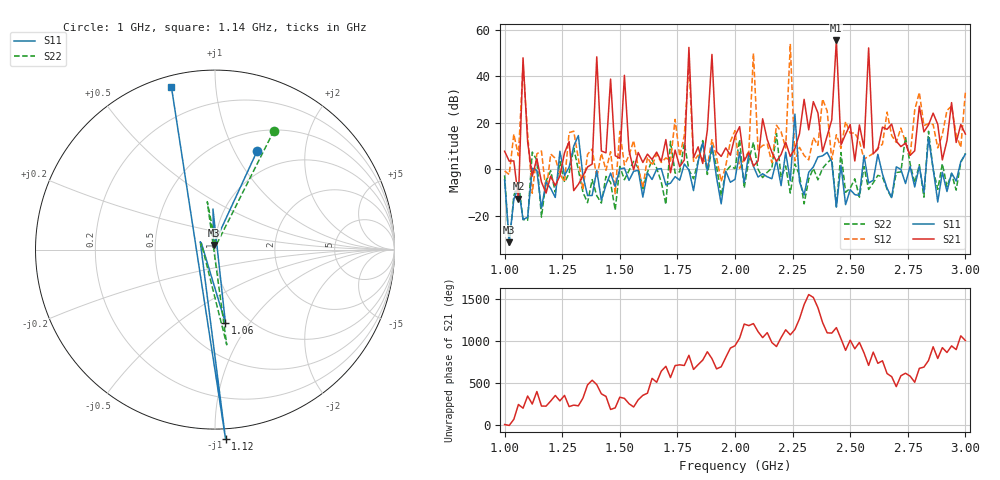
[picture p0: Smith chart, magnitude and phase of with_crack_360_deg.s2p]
# MHz S MA R 50
!  freq  S11  S21  S12  S22
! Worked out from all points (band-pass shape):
!   101 points, 1 GHz to 3 GHz, reference 50 ohm
!   highest |S21| = 55.38 dB at 2.44 GHz (marker M1); lowest = -12.6 dB at 1.06 GHz (marker M2)
!   |S21| within 3 dB of the highest: 1.799997 GHz to 1.800003 GHz (6.708 kHz wide, 0.000373 % of centre); 2.438243 GHz to 2.441337 GHz (3.094 MHz wide, 0.127 % of centre)
!   lowest |S11| = -31.3 dB at 1.02 GHz (marker M3), VSWR 1.06, Z = 49.3 + j2.59 ohm
!   |S11| at or under -10 dB: 1.004 GHz to 1.051 GHz (46.97 MHz wide, 4.57 % of centre); 1.063 GHz to 1.11 GHz (46.73 MHz wide, 4.3 % of centre); 1.357 GHz to 1.382 GHz (25.4 MHz wide, 1.85 % of centre) (the widest 3 of 15)
!   |S22| runs from -33.1 to 16.3 dB; largest |S21 - S12| = 5.9e+02
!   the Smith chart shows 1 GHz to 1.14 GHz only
!   S11 on the Smith chart (normalised r, x): 1 GHz: 0.73, +1.24; 1.06 GHz: 0.79, -0.78; 1.12 GHz: -0.06, -1.06; 1.14 GHz: 0.05, +0.77
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1000  0.5964 66.9  2.438 5.9  0.9193 -173.8  0.7393 63.7
1020  0.02718 104.6  1.497 -5.2  0.7709 172.8  0.02224 76.6
1060  0.4141 -81.9  0.2344 -116.3  1.958 -97.0  0.5342 -83.0
1120  1.055 -86.8  0.7101 -110.8  0.306 -112.8  2.336 -136.3
1140  0.9403 105.0  1.695 37.0  2.146 -135.4  1.572 34.2
1340  0.7172 119.7  0.7164 -41.2  0.3614 -35.9  0.3203 62.8
1680  1.037 66.3  1.482 -81.2  1.399 95.8  0.5302 70.5
1780  1.299 61.6  1.581 -13.4  5.308 -41.9  3.658 102.4
1800  0.9667 69.1  416.2 107.1  190.3 154.6  0.966 69.3
1820  0.3485 72.2  1.769 -60.4  1.481 102.4  0.6254 14.6
2000  0.6081 103.4  5.191 -139.6  6.763 26.3  1.032 111.2
2220  2.321 -149.5  3.83 49.9  2.875 -150.7  1.178 -133.7
2240  0.564 123.4  1.888 -9.8  496.4 -18.5  0.3073 -123.3
2260  15.3 18.4  2.789 54.0  1.511 89.2  1.305 -127.0
2340  1.121 71.4  28.41 73.6  4.805 -101.3  1.041 40.2
2420  1.444 55.3  11.53 10.4  1.608 -143.3  1.683 152.8
2440  0.1536 -82.1  587.3 75.4  5.532 -177.5  0.1573 -55.4
2460  1.217 134.0  3.349 -55.7  2.818 107.1  2.285 96.9
2560  1.983 170.1  2.866 135.9  1.653 11.8  1.145 -149.1
2580  0.5061 85.2  405.9 -12.6  1.902 -74.9  0.3685 62.2
2680  0.2467 15.8  9.381 -146.2  5.305 -24.1  0.2409 31.2
3000  2.109 -54.6  5.716 -77.4  45.87 -95.1  2.196 -69.9
